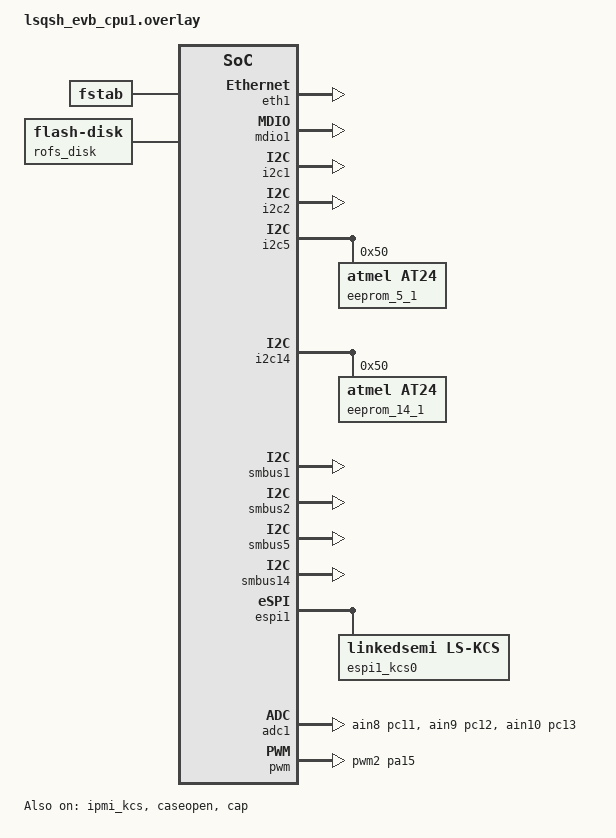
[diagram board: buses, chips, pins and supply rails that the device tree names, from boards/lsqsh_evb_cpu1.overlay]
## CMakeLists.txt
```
# SPDX-License-Identifier: Apache-2.0
cmake_minimum_required(VERSION 3.20.0)

# --- Self-test: fake temperature sensor (hwmon_i2c -> HwmonTempSensor) ---
# Enable both the fake sensor driver (CONFIG_FAKE_TEMP_SENSOR) and its DT
# overlay with a single flag:
#   west build -b <board> app -DFAKE_TEMP_TEST=y
# Leave off for production builds. MUST be set before find_package(Zephyr)
# because the overlay is consumed during devicetree generation (Kconfig runs
# first inside find_package, so the CONFIG cache var is picked up too).
#if(FAKE_TEMP_TEST)
  set(CONFIG_FAKE_TEMP_SENSOR y CACHE BOOL "fake temp sensor" FORCE)
  set(EXTRA_DTC_OVERLAY_FILE
      "${CMAKE_CURRENT_LIST_DIR}/boards/lsqsh_evb_cpu1_fake_temp.overlay"
      CACHE FILEPATH "fake temp test overlay" FORCE)
#endif()

# --- Self-test: fake PSU sensor (hwmon_i2c -> PSUSensor) ---
#   west build -b <board> app -DFAKE_PSU_TEST=y
# (Can be combined with -DFAKE_TEMP_TEST=y: the overlay is appended to the
# list so both apply. Set before find_package(Zephyr), same reason as above.)
#if(FAKE_PSU_TEST)
  set(CONFIG_FAKE_PSU_SENSOR y CACHE BOOL "fake psu sensor" FORCE)
  list(APPEND EXTRA_DTC_OVERLAY_FILE
       "${CMAKE_CURRENT_LIST_DIR}/boards/lsqsh_evb_cpu1_fake_psu.overlay")
#endif()

# --- Self-test: fake PECI CPU temperature/power sensor (hwmon_i2c -> IntelCPUSensor) ---
#   west build -b <board> app -DFAKE_PECI_CPUTEMP_TEST=y
# (Can be combined with -DFAKE_TEMP_TEST=y / -DFAKE_PSU_TEST=y.)
#if(FAKE_PECI_CPUTEMP_TEST)
  set(CONFIG_FAKE_PECI_CPUTEMP y CACHE BOOL "fake peci cpu sensor" FORCE)
  list(APPEND EXTRA_DTC_OVERLAY_FILE
       "${CMAKE_CURRENT_LIST_DIR}/boards/lsqsh_evb_cpu1_fake_peci_cputemp.overlay")
#endif()

# --- Real Intel PECI CPU sensor (hwmon_i2c -> IntelCPUSensor) ---
# Build-switch (the -D...=y kind) is reserved for fake self-test sensors
# only. The real driver is enabled exclusively from prj.conf so the build
# command stays the same once the hardware is wired up -- no need to
# remember to pass a flag. To turn it on, add to prj.conf:
#
#   CONFIG_SENSOR_INTEL_PECI=y
#   CONFIG_PECI=y
#   CONFIG_PECI_LS=y         # linkedsemi PECI controller driver
#
# The matching DT overlay is applied automatically below (post
# find_package(Zephyr), where the Kconfig cache var is visible to CMake).
# Mutually exclusive with -DFAKE_PECI_CPUTEMP_TEST=y because both define
# a hwmon node with the same "peci_cputemp" label.

find_package(Zephyr REQUIRED HINTS $ENV{ZEPHYR_BASE})

# Real Intel PECI: apply the matching DT overlay whenever the user has
# enabled CONFIG_SENSOR_INTEL_PECI in prj.conf. Doing it here (after
# find_package) means the Kconfig cache var is resolved and visible.
if(CONFIG_SENSOR_INTEL_PECI)
  if(FAKE_PECI_CPUTEMP_TEST)
    message(FATAL_ERROR
      "CONFIG_SENSOR_INTEL_PECI (prj.conf) and FAKE_PECI_CPUTEMP_TEST "
      "(-D...=y) are mutually exclusive: both define a hwmon node with "
      "the same \"peci_cputemp\" label. Pick one.")
  endif()
  list(APPEND EXTRA_DTC_OVERLAY_FILE
       "${CMAKE_CURRENT_LIST_DIR}/boards/lsqsh_evb_cpu1_intel_peci.overlay")
endif()

# ---------------------------------------------------------------------------
# wolfSSH/wolfSSL misc.c de-duplication -- done HERE so the wolfssh/wolfssl
# module CMakeLists stay untouched (both are pristine).
#
# app/wolfssl_user_settings.h defines NO_INLINE (required: this wolfssl fork
# stripped the !NO_INLINE inline branch from wolfcrypt/misc.h, so wolfSSH
# would fail with implicit declarations for ForceZero/ato32/c32toa/...).
# With NO_INLINE the misc.c copies export real external symbols, and exactly
# ONE of them must be linked:
#   - wolfssl's wolfcrypt/src/misc.c is the SUPERSET (also covers what
#     wolfssl's TLS internal.c needs) -- this is the one we want, but the
#     pristine wolfssl module has it COMMENTED OUT (line ~98);
#   - wolfssh's bundled src/misc.c (a subset) IS built pristine, because the
#     wolfssh module does target_sources(app PRIVATE src/*.c).
# So from the app side:
#   a) drop wolfssh's bundled copy from the 'app' target (the module
#      compiles its sources into 'app', included during find_package above);
#   b) append wolfssl's wolfcrypt/src/misc.c to the wolfssl library target
#      (found via the ZEPHYR_LIBS global property; its name is the
#      path-derived "..__modules__lib__wolfssl__zephyr").
#.regex notes: (a) matches only <module>/wolfssh/src/misc.c -- NOT the
# app's own src/misc.c below. (b) is a no-op when the wolfssl module is
# ever re-enabled upstream, as long as the target name matches "wolfssl".
get_target_property(APP_SRCS app SOURCES)
if(NOT APP_SRCS STREQUAL "APP_SRCS-NOTFOUND")
  list(FILTER APP_SRCS EXCLUDE REGEX "/wolfssh/src/misc\\.c$")
  set_target_properties(app PROPERTIES SOURCES "${APP_SRCS}")
endif()

set(WOLFSSL_MISC_TARGET "")
get_property(ZEPHYR_ALL_LIBS GLOBAL PROPERTY ZEPHYR_LIBS)
foreach(lib ${ZEPHYR_ALL_LIBS})
  if(lib MATCHES "wolfssl" AND NOT WOLFSSL_MISC_TARGET)
    set(WOLFSSL_MISC_TARGET ${lib})
  endif()
endforeach()
if(WOLFSSL_MISC_TARGET)
  target_sources(${WOLFSSL_MISC_TARGET} PRIVATE
    ${ZEPHYR_WOLFSSL_MODULE_DIR}/wolfcrypt/src/misc.c)
else()
  message(FATAL_ERROR
    "wolfssl library target not found in ZEPHYR_LIBS; cannot enable "
    "wolfcrypt/src/misc.c from the app. If the wolfssl module structure "
    "changed, update this block.")
endif()

project(openbmc LANGUAGES C CXX)

target_include_directories(app PRIVATE include)

target_sources(app PRIVATE
  src/main.cpp
  src/thread_dependency_mgr.cpp
  src/task_def.cpp
)

target_sources(app PRIVATE
  src/sys_mmap_impl.c
#   src/test_deployment.c
  src/test_sd_event.c
  # ${CMAKE_CURRENT_LIST_DIR}/../../samples/test_event/sd_event_test.c
  src/misc.c
  src/net_stack_cfg.c
  src/dbroker.c
  src/socketpool.c
#   src/config_fs.c
  src/busctl_shell.c
  # i2c-tools debug shell commands (i2cdetect/i2cget/i2cset/i2cdump/i2ctransfer).
  # Default-on, no Kconfig guard -- mirrors busctl_shell.c / ipmitool_shell.c.
  src/i2c_tools_shell.c
)

# Self-test fake temperature sensor (hwmon_i2c -> HwmonTempSensor path).
#if (CONFIG_FAKE_TEMP_SENSOR)
  target_sources(app PRIVATE src/fake_temp.c)
#endif()

# Self-test fake PSU sensor (hwmon_i2c -> PSUSensor path).
#if (CONFIG_FAKE_PSU_SENSOR)
  target_sources(app PRIVATE src/fake_psu.c)
#endif()

# Self-test fake PECI CPU temperature sensor (hwmon_i2c -> IntelCPUSensor path).
#if (CONFIG_FAKE_PECI_CPUTEMP)
  target_sources(app PRIVATE src/fake_peci_cputemp.c)
#endif()

# Real Intel PECI CPU sensor (hwmon_i2c -> IntelCPUSensor path).
# Requires the PECI controller driver to be enabled (CONFIG_PECI=y +
# CONFIG_PECI_LS=y on linkedsemi platforms) and the board's &peci1/&peci2
# nodes status="okay" -- the bundled overlay does that automatically.
if (CONFIG_SENSOR_INTEL_PECI)
  target_sources(app PRIVATE src/intel_peci.c)
endif()

# Handle Unix socket compatibility
target_compile_definitions(app PRIVATE
-D__ZEPHYR__
-D_POSIX_SOCKETS
-D_AF_UNIX_EXISTS_=1
)

zephyr_compile_options(-msmall-data-limit=0 -Wno-strict-prototypes -Wno-macro-redefinition -Wno-implicit-fallthrough)
target_link_options(app PRIVATE -Wl,--no-relax)
# Route every abort() call through our __wrap_abort() so a silent
# c_assert/abort() inside dbus-broker (which would otherwise kill the
# broker thread with no log) is captured via printk.
target_link_options(app PRIVATE -Wl,--wrap=abort)

if (CONFIG_ZEPHYRBMC_FILESYSTEM)
zephyr_library_link_libraries(filesystem)
endif()

# ---------------------------------------------------------------------------
# webui-vue static assets -> rofs (littlefs image, mounted under the web root)
#
# webui-vue is a browser SPA (Vue 2); only its prebuilt `dist/` is bundled.
# The dist is produced on a host with Node 16:
#     cd openbmc/webui-vue && npm install && npm run build
# (CompressionPlugin must stay ENABLED so dist ships as .gz files; the 2MB
#  rofs cannot hold the ~2MB uncompressed build.)
#
# Copied at CMake *configure* time into the rofs staging dir; mk-rofs later
# packs ${CMAKE_BINARY_DIR}/configure_file/ into flash_rofs.bin.
#
#   rofs path : usr/share/www/
#   web root  : CONFIG_FS_ROOT_OVERLAY "/usr/share/www/"
#
# bmcweb must serve the .gz files with Content-Encoding: gzip and MIME from
# the stripped (.gz) suffix (standard gzip_static behaviour).
# ---------------------------------------------------------------------------
if(CONFIG_OPENBMC_WEBUI_VUE)
  set(WEBUI_DIST_DIR "${CMAKE_CURRENT_SOURCE_DIR}/../../webui-vue/dist"
      CACHE PATH "Path to the prebuilt webui-vue dist/ directory")
  if(NOT EXISTS "${WEBUI_DIST_DIR}")
    message(FATAL_ERROR
      "CONFIG_OPENBMC_WEBUI_VUE is set but '${WEBUI_DIST_DIR}' does not "
      "exist.\n"
      "Build the webui-vue frontend first on a host with Node 16:\n"
      "  cd openbmc/webui-vue && npm install && npm run build\n"
      "(Keep CompressionPlugin enabled so the dist is gzipped.)")
  endif()
  set(WEBUI_RDFS_DIR "${CMAKE_BINARY_DIR}/configure_file/usr/share/www")
  file(MAKE_DIRECTORY ${WEBUI_RDFS_DIR})
  # Copy the *contents* of dist/ into usr/share/www/ (the /. idiom copies
  # directory contents, not the dist/ folder itself).
  file(COPY "${WEBUI_DIST_DIR}/." DESTINATION ${WEBUI_RDFS_DIR})
  # Re-run CMake if any dist file changes, so the copy stays in sync.
  file(GLOB WEBUI_DIST_FILES "${WEBUI_DIST_DIR}/*")
  set_property(DIRECTORY APPEND PROPERTY CMAKE_CONFIGURE_DEPENDS ${WEBUI_DIST_FILES})
endif()

zephyr_library_link_libraries(
	dbus-broker
	basu
  phosphor-objmgr
  i2c-tools
)

# zephyr_library_link_libraries(sd-bus)
zephyr_library_link_libraries(zephyr-osal)
zephyr_library_link_libraries(boost)
# zephyr_library_link_libraries(zephyr-test)
# zephyr_library_link_libraries(phosphor-user-manager)

zephyr_compile_definitions(
    _GNU_SOURCE
    # SDBUSPLUS_DISABLE_BOOST_COROUTINES
    _GLIBCXX_USE_C99_MATH_FUNCS
    _GLIBCXX_HAVE_ALIGNED_ALLOC
    _GLIBCXX_HAVE_STRTOLD
    _GLIBCXX_HAVE_DIRENT_H
    _GTHREAD_USE_MUTEX_INIT_FUNC
    _GTHREAD_USE_RECURSIVE_MUTEX_INIT_FUNC
    _GTHREAD_USE_COND_INIT_FUNC
    _GLIBCXX_HAVE_TIMESPEC_GET
)
```

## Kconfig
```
menuconfig DBROKER
	bool "D-Bus Broker support"
	default n
	help
		Enable D-Bus broker support for inter-process communication.

if DBROKER

choice
	prompt "D-Bus broker connection type"
	default DBUS_BROKER_INET

config DBUS_BROKER_INET
	bool "Use INET sockets"
	help
		Use AF_INET sockets for client connections.
		This requires network stack and uses more resources.

config DBUS_BROKER_SOCKETPOOL
	bool "Use socketpool"
	select NET_SOCKETPAIR
	help
		Use a pool of pre-allocated socketpairs for client connections.
		This is more efficient than INET sockets and uses less resources.

endchoice

config DBUS_BROKER_PORT
	int "D-Bus broker listening port"
	depends on DBUS_BROKER_INET
	default 55555
	help
		Port number for D-Bus broker listener.

config DBUS_BROKER_SOCKETPOOL_SIZE
	int "Number of socketpairs in pool"
	depends on DBUS_BROKER_SOCKETPOOL
	default 16
	help
		Number of pre-allocated socketpairs in the pool.
		Each socketpair uses 2 file descriptors.

config DBUS_BROKER_SOCKETPOOL_BUFFER_SIZE
	int "Socketpair buffer size in bytes"
	depends on DBUS_BROKER_SOCKETPOOL
	default 4096
	help
		Buffer size for each socketpair in the pool.
		This is the size of the socket send/receive buffer for each
		end of the socketpair. A larger buffer allows larger messages
		to be sent without blocking, but uses more memory.

		Total memory usage = SOCKETPOOL_SIZE * 2 * SOCKETPOOL_BUFFER_SIZE

		Examples:
		- 16 pairs * 2 * 4KB = 128KB
		- 16 pairs * 2 * 8KB = 256KB
		- 16 pairs * 2 * 16KB = 512KB

		For most D-Bus use cases, 4KB-8KB is sufficient.

config DBUS_BROKER_STACK_SIZE
	int "D-Bus broker thread stack size"
	default 8192
	help
		Stack size for D-Bus broker thread.

config DBUS_BROKER_PRIORITY
	int "D-Bus broker thread priority"
	default 7
	help
		Priority for D-Bus broker thread.

endif # DBROKER

config APP_STACK_SECTION
    string
    prompt "APP_STACK_SECTION"
    default "PSRAM"
    # default ".noinit"

config OPENBMC_ZEPHYR
	bool "OpenBMC project build (global control)"
	default y
	help
	  Global flag to indicate this is OpenBMC build.

config FS_ROOT_RO
    string
    prompt "Root filesystem read-only path"
    default "/ro"

config FS_ROOT_RW
    string
    prompt "Root filesystem read-write path"
    default "/rw"

config FS_ROOT_OVERLAY
    string
    prompt "Root filesystem overlay path"
    default "/overlay"

config FS_ROOT_MNT
    string
    prompt "Root filesystem data volume (eMMC) mount path"
    default "/mnt"
    help
      Mount point of the writable data FAT volume (eMMC, disk-name "mnt").
      FatFs is built with FF_STR_VOLUME_ID=2 (CONFIG_ZEPHYR_FATFS_UNIX_MNTPOINT=y),
      so the volume is addressed unix-style ("/mnt/...", no colon) and the
      mount point must equal the volume name: keep it in sync with
      CONFIG_ZEPHYR_FATFS_SD2_ALIAS_UNIX ("mnt") and the disk-name of the mmc
      disk node in the board overlay.
      All code that stores paths on this volume should build them from this
      symbol.

config FAKE_TEMP_SENSOR
	bool "Fake temperature sensor for hwmon self-test"
	default n
	help
	  A simulated sensor device that returns a slowly-varying temperature
	  (around 25 C) via the Zephyr sensor API. Use it to exercise the
	  hwmon_i2c -> sysfs tempX_input -> HwmonTempSensor dbus path without
	  real sensor hardware. Enable only for testing; keep off in production.

config FAKE_PSU_SENSOR
	bool "Fake PSU sensor for hwmon self-test"
	default n
	help
	  A simulated PMBus-style sensor returning slowly-varying voltage/power
	  rail values (vin/vout/pin/pout) via the Zephyr sensor API. Use it to
	  exercise the hwmon_i2c -> sysfs <rail>_input -> PSUSensor dbus path
	  without real PMBus hardware. Enable only for testing; keep off in
	  production.

config FAKE_PECI_CPUTEMP
	bool "Fake PECI CPU temperature/power sensor for hwmon self-test"
	default n
	help
	  A simulated Intel PECI CPU sensor returning slowly-varying temperature
	  (DTS, Margin, DIMM) and power (cpu power, dimm power) values via the
	  Zephyr sensor API. Use it to exercise the hwmon_i2c -> sysfs
	  *_input -> IntelCPUSensor dbus path without a real Intel CPU connected.
	  Enable only for testing; keep off in production.

config SENSOR_INTEL_PECI
	bool "Real Intel PECI CPU temperature/power/DIMM sensor"
	depends on PECI
	default n
	help
	  The real counterpart of FAKE_PECI_CPUTEMP. Reads DTS / Margin / Package
	  power / DRAM power / DIMM A1 / DIMM B1 from an Intel CPU over PECI
	  and exposes them via the Zephyr sensor API so hwmon_i2c + IntelCPUSensor
	  work without any code changes.

	  All six rails, including DIMM A1 / DIMM B1, are sourced from PECI:
	  the CPU's integrated memory controller (IMC) monitors the DIMM
	  thermistors itself and reports per-channel DIMM temperatures through
	  the PECI memory-thermal domain (RdPkgCfg with a memory-domain index,
	  or RdIAMSR for some platforms). The DIMM slot SMBus is reserved for
	  SPD / PMBus access and is NOT the temperature source.

	  Enable directly in prj.conf (NOT through a -D...=y build flag -- the
	  build flag is reserved for fake self-test sensors). When set, the
	  matching DT overlay (lsqsh_evb_cpu1_intel_peci.overlay) is applied
	  automatically and the SoC's &peci1/&peci2 nodes are enabled.

	  Typical prj.conf snippet for production:

	      CONFIG_PECI=y
	      CONFIG_PECI_LS=y
	      CONFIG_SENSOR_INTEL_PECI=y

	  Mutually exclusive with FAKE_PECI_CPUTEMP.

config OPENBMC_WEBUI_VUE
	bool "Bundle webui-vue static assets into rofs"
	default n
	depends on MK_ROFS
	help
	  Copy the prebuilt webui-vue dist/ (openbmc/webui-vue/dist, produced
	  by `npm run build` on a Node 16 host) into the littlefs rofs image at
	  usr/share/www/. bmcweb serves these files as the BMC web UI.

	  The dist ships gzipped (index.html.gz, app.*.js.gz, ...) because the
	  2MB rofs cannot hold the ~2MB uncompressed build. bmcweb must serve
	  them with Content-Encoding: gzip and MIME derived from the stripped
	  (.gz) suffix (standard gzip_static behaviour).

# SHELL_WOLFSSH_LOG_LEVEL is generated by Kconfig.template.log_config
# (Kconfig.backends: "module = SHELL_WOLFSSH") with "depends on LOG". This
# app builds without CONFIG_LOG, so the symbol never reaches autoconf.h and
# shell_wolfssh.c silently falls back to "no log backend".
#
# Re-defining it here fixes that WITHOUT touching the zephyr tree, but ONLY
# while CONFIG_LOG is off. kconfiglib ORs the dependencies of multiple
# definitions of a symbol, so "depends on !LOG" here combines with the
# template's "depends on LOG" into a tautology -- the symbol is always
# generated. That is fine: "depends on" also applies to this definition's
# own default, so with LOG=y our default is skipped and the template's
# choice-driven semantics apply unchanged; with LOG=n our default wins and
# the value tracks SHELL_WOLFSSH_INIT_LOG_LEVEL (hand-written in
# Kconfig.backends without a LOG dependency).
#
# NOTE: activating that code path in shell_wolfssh.c also references
# CONFIG_LOG_MAX_LEVEL, which is likewise hidden without CONFIG_LOG
# (Kconfig.filtering is sourced inside "if LOG"). Re-expose it too, or the
# build breaks with LOG=n. With LOG=y our default is skipped and upstream's
# own default (also 4) applies.
config SHELL_WOLFSSH_LOG_LEVEL
	int
	depends on !LOG
	default SHELL_WOLFSSH_INIT_LOG_LEVEL

config LOG_MAX_LEVEL
	int
	depends on !LOG
	default 4

config CODEMGT_AUTO_ACTIVATE
	bool "Automatically activate a freshly uploaded BMC image"
	default n
	help
		When enabled, every BMC image that is uploaded and unpacked
		successfully is activated immediately: code-mgt writes it to the
		opposite flash slot, switches the boot environment (dual_sec_active_image
		/ app_*_partition_offset in the SBL env) and reboots the BMC. It is
		the same path as setting Software.Activation.RequestedActivation to
		Active by hand, just without the busctl step.

		When disabled (the default), an uploaded image is only unpacked and
		published, and the activation stays under user control:
		  busctl set-property xyz.openbmc_project.Software.BMC.Updater \
		    /xyz/openbmc_project/software/<id> \
		    xyz.openbmc_project.Software.Activation RequestedActivation s \
		    xyz.openbmc_project.Software.Activation.RequestedActivations.Active

		Keep this OFF while a failed activation (a bad image, a flash write
		that does not complete) would otherwise put the board into a reboot
		loop on every upload.

source "Kconfig.zephyr"
```

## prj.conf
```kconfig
######################################################
# COMMON CONFIGURATION
######################################################
CONFIG_NEWLIB_LIBC=y
CONFIG_FILE_SYSTEM=y
CONFIG_POSIX_API=y
CONFIG_EVENTFD=y
CONFIG_LOG=n
# CONFIG_LOG_MODE_MINIMAL=y
# CONFIG_STACK_CANARIES=y
CONFIG_STATIC_INIT_GNU=y
CONFIG_TEST_RANDOM_GENERATOR=y
CONFIG_NETWORKING=y
CONFIG_NET_TCP=y
CONFIG_NET_SOCKETS=y
CONFIG_NET_SOCKETS_POLL_MAX=64
CONFIG_MAX_PTHREAD_MUTEX_COUNT=4096


CONFIG_NET_ZPERF=y
# CONFIG_NET_LOG is not set
CONFIG_NET_UDP=y
# NET_IPV6=n 时该选项无依赖，置 n 避免 Kconfig 警告
CONFIG_NET_TCP_IPV6_ND_REACHABILITY_HINT=n
CONFIG_NET_STATISTICS=y
CONFIG_NET_STATISTICS_USER_API=y
CONFIG_NET_STATISTICS_IPV4=y
CONFIG_NET_STATISTICS_UDP=y
CONFIG_NET_STATISTICS_TCP=y
CONFIG_NET_STATISTICS_ETHERNET=y
CONFIG_NET_TC_TX_COUNT=1
CONFIG_NET_SOCKETS_SERVICE_THREAD_PRIO=-1
CONFIG_INIT_STACKS=y
CONFIG_NET_L2_ETHERNET=y

# Shell enabled with serial backend
CONFIG_SHELL=y
CONFIG_KERNEL_SHELL=y
CONFIG_SHELL_BACKEND_SERIAL=y
# Enlarge UART RX ring buffer (default 64) so a full pasted command line is
# buffered even if the shell thread is briefly starved; prevents random
# character drops ("Too few arguments" / corrupted args) on long commands.
CONFIG_SHELL_BACKEND_SERIAL_RX_RING_BUFFER_SIZE=256
# Enlarge the per-command parse buffer (default 256) so long busctl calls
# (service + path + signature + args) are not truncated.
CONFIG_SHELL_CMD_BUFF_SIZE=512
CONFIG_SHELL_THREAD_PRIORITY_OVERRIDE=y
CONFIG_NET_SHELL=y
# CONFIG_SPEED_OPTIMIZATIONS=y
CONFIG_SIZE_OPTIMIZATIONS=y
# CONFIG_LTO=y
CONFIG_SHELL_STACK_SIZE=16384

######################################################
# 网络配置（参考 zephyr_openbmc - 仅 IPv4）
######################################################
CONFIG_NET_IPV4=y
CONFIG_NET_IPV6=n


CONFIG_NET_CONFIG_SETTINGS=y
CONFIG_NET_CONFIG_AUTO_INIT=n
CONFIG_NET_CONFIG_INIT_TIMEOUT=120

CONFIG_NET_DHCPV4=y
CONFIG_NET_CONFIG_MY_IPV4_ADDR="192.0.2.13"
CONFIG_NET_CONFIG_MY_IPV4_NETMASK="255.255.255.0"
CONFIG_NET_CONFIG_MY_IPV4_GW=""


CONFIG_NET_IF_UNICAST_IPV4_ADDR_COUNT=2

# ARP 协议
CONFIG_NET_ARP=y
CONFIG_NET_ARP_GRATUITOUS=y
CONFIG_NET_ARP_GRATUITOUS_TRANSMISSION=y
CONFIG_NET_MGMT_EVENT_INFO=y

CONFIG_NET_IPV4_ACD=y



# CONFIG_NET_CORE_LOG_LEVEL_DBG=y
# CONFIG_NET_ARP_LOG_LEVEL_DBG=y
# CONFIG_NET_L2_ETHERNET_LOG_LEVEL_DBG=y
# CONFIG_NET_ICMPV4_LOG_LEVEL_DBG=y
# CONFIG_NET_IF_LOG_LEVEL_DBG=y
# CONFIG_NET_CONFIG_LOG_LEVEL_DBG=y


CONFIG_NET_TCP_WORKER_PRIO=10

# 网络管理
CONFIG_NET_MGMT=y
CONFIG_NET_MGMT_EVENT=y
CONFIG_NET_L2_ETHERNET_MGMT=y


CONFIG_NET_BUF_DATA_SIZE=1024
CONFIG_RX_REFILL_STACK_SIZE=4096
CONFIG_STACK_SENTINEL=y
CONFIG_NET_PKT_RX_COUNT=256
CONFIG_NET_PKT_TX_COUNT=64
CONFIG_NET_BUF_RX_COUNT=64
CONFIG_NET_BUF_TX_COUNT=16
CONFIG_NET_MAX_CONTEXTS=32
CONFIG_NET_MAX_CONN=32
CONFIG_NET_TCP_WORKQ_STACK_SIZE=2048
CONFIG_DWMAC_NB_RX_DESCS=128
CONFIG_DWMAC_NB_TX_DESCS=24

# 网络栈大小配置（tx workq 在 wolfSSH 握手流量下曾触顶 2048）
CONFIG_NET_TX_STACK_SIZE=4096
CONFIG_NET_RX_STACK_SIZE=4096
CONFIG_NET_MGMT_EVENT_STACK_SIZE=3072

CONFIG_NET_LOOPBACK=y


CONFIG_NET_IF_UNICAST_IPV4_ADDR_COUNT=2
CONFIG_NET_IF_MCAST_IPV4_ADDR_COUNT=1

CONFIG_NET_CONTEXT_RECV_PKTINFO=y

CONFIG_THREAD_NAME=y

CONFIG_TEST_AUTH=y

CONFIG_PSRAM=y
CONFIG_NEWLIB_LIBC_MALLOC_SECTION_NAME="PSRAM"
CONFIG_NEWLIB_LIBC_MALLOC_LSQSH=y

CONFIG_SYS_HEAP_RUNTIME_STATS=y

CONFIG_NEWLIB_LIBC_MALLOC_ARENA_SIZE=5242880

CONFIG_MAIN_STACK_SIZE=92160
CONFIG_HEAP_MEM_POOL_SIZE=40960
CONFIG_POSIX_MAX_FDS=512
CONFIG_ZVFS_POLL_MAX=512
# CONFIG_ZVFS_OPEN_MAX=112
CONFIG_NET_SOCKETPAIR=y
CONFIG_NET_SOCKETPAIR_BUFFER_SIZE=1024
CONFIG_NET_SOCKETS_AF_UNIX=y
CONFIG_NET_UNIX_BUFFER_SIZE=2048
CONFIG_NET_UNIX_MAX_SOCKETS=64
######################################################
# DBUS SOCKET MODE SELECTION
######################################################
# Enable D-Bus broker subsystem
CONFIG_DBROKER=y

CONFIG_ASSERT=y

CONFIG_XIP=y
CONFIG_BOOT_CPU2=n
# CONFIG_THREAD_LOCAL_STORAGE=y
# CONFIG_LOG_DEFAULT_LEVEL=3
CONFIG_FRAME_POINTER=y
CONFIG_THREAD_LOCAL_STORAGE=y
CONFIG_TOOLCHAIN_CROSS_COMPILE_SUPPORTS_THREAD_LOCAL_STORAGE=y
CONFIG_POSIX_THREADS=y

CONFIG_ZVFS_OPEN_MAX=512
CONFIG_ZVFS_EVENTFD_MAX=512

CONFIG_CPP=y
CONFIG_STD_CPP20=y
CONFIG_REQUIRES_FULL_LIBCPP=y
CONFIG_CPP_EXCEPTIONS=y
CONFIG_TOOLCHAIN_CROSS_COMPILE_SUPPORTS_GNU_EXTENSIONS=y

#
# File Systems
#
CONFIG_FILE_SYSTEM=y
# format SD card
CONFIG_FILE_SYSTEM_MKFS=y
CONFIG_FILE_SYSTEM_SHELL=y
CONFIG_FILE_SYSTEM_MAX_TYPES=16
CONFIG_FILE_SYSTEM_MAX_FILE_NAME=255
CONFIG_FILE_SYSTEM_LITTLEFS=y
CONFIG_FS_LITTLEFS_BLK_DEV=y
CONFIG_DISK_ACCESS=y
CONFIG_DISK_DRIVERS=y
CONFIG_DISK_DRIVER_MMC=y
CONFIG_DISK_DRIVER_FLASH=y
CONFIG_FLASH=y
CONFIG_FLASH_SHELL=y
CONFIG_FLASH_MAP=y
CONFIG_FLASH_PAGE_LAYOUT=y
CONFIG_MPU_ALLOW_FLASH_WRITE=y

# CONFIG_STORAGE_MEDIA_FLASH_RW=y
# CONFIG_STORAGE_MEDIA_EMMC=y
# end of File Systems

# Enable fatfs reentry
# FatFs volume IDs use the unix style (FF_STR_VOLUME_ID=2), so mount points
# are "/ro" and "/mnt". This is global: every FatFs mount point and path must
# use "/<volume>/..." (no colon).
CONFIG_ZEPHYR_FATFS_UNIX_MNTPOINT=y
# Rename slot 2 of the volume table ("NAND") to "ro"; it must match the
# disk-name of rofs_disk in the board overlay.
CONFIG_ZEPHYR_FATFS_NAND_ALIAS_UNIX="ro"
# The writable data volume (eMMC) is mounted at CONFIG_FS_ROOT_MNT ("/mnt"),
# so its volume string must be "mnt" as well.
CONFIG_ZEPHYR_FATFS_SD2_ALIAS_UNIX="mnt"
CONFIG_FAT_FILESYSTEM_ELM=y
CONFIG_FS_FATFS_LFN=y
# allow reentrance
CONFIG_FS_FATFS_LFN_MODE_STACK=y
CONFIG_FS_FATFS_NUM_FILES=16
CONFIG_FS_FATFS_NUM_DIRS=16
CONFIG_FS_FATFS_TINY=n
CONFIG_FS_FATFS_REENTRANT=y
# end fatfs

# LittleFS Settings
#
CONFIG_FS_LITTLEFS_NUM_FILES=16
CONFIG_FS_LITTLEFS_NUM_DIRS=16
# CONFIG_FS_LITTLEFS_READ_SIZE=512
# CONFIG_FS_LITTLEFS_PROG_SIZE=512
# CONFIG_FS_LITTLEFS_CACHE_SIZE=512
# CONFIG_FS_LITTLEFS_LOOKAHEAD_SIZE=2048
# CONFIG_FS_LITTLEFS_BLOCK_CYCLES=512
CONFIG_FS_LITTLEFS_FC_HEAP_SIZE=20480
# end of LittleFS Settings

CONFIG_THREAD_STACK_INFO=y
CONFIG_DYNAMIC_THREAD=y
CONFIG_DYNAMIC_THREAD_ALLOC=y
CONFIG_DYNAMIC_THREAD_POOL_SIZE=1
CONFIG_DYNAMIC_THREAD_STACK_SIZE=10240

CONFIG_I2C_SHELL=y
CONFIG_SMBUS_SHELL=y
CONFIG_EEPROM=y
CONFIG_EEPROM_EMULATOR=n
CONFIG_EEPROM_SIMULATOR=n
CONFIG_EEPROM_SHELL=y
CONFIG_EEPROM_AT24=y

CONFIG_POSIX_THREAD_THREADS_MAX=40
CONFIG_POSIX_TIMERS=y
CONFIG_XOPEN_STREAMS=y
CONFIG_CPP_RTTI=y

# CONFIG_PWM=y
# CONFIG_PWM_LS=y

CONFIG_BASU=y
CONFIG_DBUS_BROKER=y
# CONFIG_NET_DEBUG=y
CONFIG_ZEPHYR_OSAL=y

CONFIG_NET_HOSTNAME="openbmc"
CONFIG_NET_HOSTNAME_DYNAMIC=y

CONFIG_OPENBMC_SDBUSPLUS=y

CONFIG_OPENBMC_PHOSPHOR_HOST_IPMID=y
CONFIG_OPENBMC_PHOSPHOR_NET_IPMID=y

CONFIG_OPENBMC_BOOST=y

CONFIG_OPENBMC_PHOSPHOR_LOGGING=y

CONFIG_OPENBMC_PHOSPHOR_OBJMGR=y
CONFIG_OPENBMC_PHOSPHOR_BMC_CODE_MGT=y
# enable SBL env
CONFIG_OPENBMC_FW_ENV=y

CONFIG_TINYXML2=y

CONFIG_WOLFSSL=y
CONFIG_WOLFSSL_SETTINGS_FILE="wolfssl_user_settings.h"

# wolfSSH settings live in the app as well (mirrors the line above). The
# upstream default points at ${ZEPHYR_BASE}/subsys/shell/backends/
# wolfssh_user_settings.h, which is left pristine/unused. The bare file name
# resolves through ${APPLICATION_CONFIG_DIR}, which the wolfSSL module puts on
# the global include path -- same mechanism as wolfssl_user_settings.h.
CONFIG_WOLFSSH_SETTINGS_FILE="wolfssh_user_settings.h"

CONFIG_OPENBMC_PHOSPHOR_DBUS_INTERFACES=y

CONFIG_OPENBMC_SDEVENTPLUS=y

CONFIG_OPENBMC_VALIJSON=y

CONFIG_OPENBMC_I2C_TOOLS=y

CONFIG_OPENBMC_ENTITY_MANAGER=y

CONFIG_DEVFS=y
CONFIG_ZEPHYR_DEVFS_DRIVER=y
CONFIG_DEVFS_FILE_NUM_MAX=32
CONFIG_SYSFS=y
CONFIG_SYSFS_FILE_NUM_MAX=32

CONFIG_MK_ROFS=y

# Bundle the prebuilt webui-vue frontend (openbmc/webui-vue/dist) into the
# littlefs rofs at usr/share/www/ (served by bmcweb as the BMC web UI).
CONFIG_OPENBMC_WEBUI_VUE=y

#SEL
CONFIG_OPENBMC_PHOSPHOR_SEL_LOGGER=y

CONFIG_OPENBMC_IPMITOOL=y

CONFIG_KCS=y
CONFIG_IPMI=y
CONFIG_IPMI_KCS_LS=y
CONFIG_ESPI=y
CONFIG_OPENBMC_KCSBRIDGE=y

CONFIG_OPENBMC_BMCWEB=y
CONFIG_CLI11=y

# dbus-sensors (only ADC for now)
# CONFIG_OPENBMC_LIBGPIOD=y
CONFIG_OPENBMC_DBUS_SENSORS=y
# CONFIG_OPENBMC_DBUS_SENSORS_ADC=y
# CONFIG_OPENBMC_DBUS_SENSORS_EXTERNAL=n
# CONFIG_OPENBMC_DBUS_SENSORS_FAN=n
# CONFIG_OPENBMC_DBUS_SENSORS_HWMON_TEMP=n
# CONFIG_OPENBMC_DBUS_SENSORS_INTELCPU=n
# CONFIG_OPENBMC_DBUS_SENSORS_INTRUSION=n
# CONFIG_OPENBMC_DBUS_SENSORS_PSU=n

# debug config
CONFIG_HW_STACK_PROTECTION=y
CONFIG_PMP_STACK_GUARD_MIN_SIZE=256

# CONFIG_DEBUG_THREAD_INFO=y
# CONFIG_THREAD_MONITOR=y
# CONFIG_ISR_STACK_SIZE=10240

CONFIG_SHELL_BACKEND_WOLFSSH=y
CONFIG_SHELL_WOLFSSH_LOGIN_TIMEOUT=5
# ssh_daemon_thread runs wolfSSH handshake (ECDH/AES crypto peaks) AND the
# whole Zephyr shell command execution afterwards; the 4096 default
# overflows (caught by STACK_SENTINEL: K_ERR_STACK_CHK_FAIL). Must be 32768
CONFIG_SHELL_WOLFSSH_DAEMON_STACK_SIZE=32768

# LOG_MODE_MINIMAL renders LOG_* output on the interrupted thread's stack;
# the tiny default idle stack overflows as soon as any driver logs from ISR
# context. Enlarged to accommodate that.
CONFIG_IDLE_STACK_SIZE=2048
CONFIG_NET_SOCKETS_SERVICE_STACK_SIZE=16384

# enlarge SD write buffer to 16 KiB to speed up SD file writes
CONFIG_SD_BUFFER_SIZE_OVERLAY=16384
# automatically reboot after uploading image
CONFIG_CODEMGT_AUTO_ACTIVATE=y

# User intent: hardware-accelerated AES. No OTBN AES option exists in the
# Kconfig tree (soc/linkedsemi/lsgsh/otbn/Kconfig.wolfssl); the linkedsemi
# hardware AES path is CONFIG_WOLFSSL_LINKEDSEMI_HARDWARE_AES_ALT (LSCRYPT
# peripheral, independent of OTBN).
#
# NOTE: the LSCRYPT alt path does NOT compile in this wolfssl revision --
# wolfcrypt/src/aes.c:12127 (inside the CONFIG_WOLFSSL_LINKEDSEMI_HARDWARE_AES_ALT
# branch) calls aes_config(..., byte_swap, ecb, keysize) with byte_swap/ecb
# never declared, i.e. an upstream bug in that branch. Leave it off until the
# alt implementation is fixed; the software AES + the GCM_TABLE_4BIT setting in
# wolfssl_user_settings.h is what the TLS throughput actually depends on.
#
# The OTBN alts are off for the same "not usable yet" reason: they register
# their own OTBN IRQ handler (wolfcrypt/src/port/linkedsemi/ecc.c
# wc_LS_OTBN_IRQHandler) while the SoC OTBN driver
# (soc/linkedsemi/lsqsh/otbn/otbn_common.c LS_OTBN_IRQHandler) is also built in,
# so the build dies in gen_isr_tables.py:
#   "multiple registrations at table_index 54 for irq 54 (0x36)"
# They become usable only once that driver and the wolfssl alt are made
# mutually exclusive by Kconfig. Nothing in the boot/flash path needs them
# (there is no signature/verification step).
#CONFIG_WOLFSSL_LINKEDSEMI_HARDWARE_AES_ALT=y
#CONFIG_WOLFSSL_LINKEDSEMI_OTBN_ECC_ALT=y
#CONFIG_WOLFSSL_LINKEDSEMI_OTBN_RSA_ALT=y
```

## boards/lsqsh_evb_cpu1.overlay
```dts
&chosen {
    zephyr,sram = &sram;
};

/*
 * SHMEM must be moved above the sram (data RAM) region to avoid overlap
 * with noinit/BSS sections. The original SHMEM at 0x100be000 collides
 * with growing noinit. Move it to 0x10140000 (right after sram ends).
 */
/delete-node/ &driver_share_memory;
/ {
    soc {
        driver_share_memory: memory@0x1013c000 {
            compatible = "zephyr,memory-region", "mmio-sram";
            reg = <0x1013c000 0x1000>;
            zephyr,memory-region = "SHMEM";
        };
    };
};

/* MBOX region must also move to avoid potential overlap */
/delete-node/ &mbox_memory;
/ {
    soc {
        mbox_memory: memory@0x1013d000 {
            compatible = "zephyr,memory-region", "mmio-sram";
            reg = <0x1013d000 DT_SIZE_K(4)>;
            zephyr,memory-region = "MBOX";
        };
    };
};

&eth1 {
    status = "okay";
};

&mdio1 {
    status = "okay";
};


&psram {
    status = "okay";
};

&i2c1 {
    status = "okay";
    label = "i2c-1";
};
&i2c2 {
    status = "okay";
    label = "i2c-2";
};
// &i2c3 {
//     status = "okay";
//     label = "i2c-3";
// };
// &i2c4 {
//     status = "okay";
//     label = "i2c-4";
// };

&i2c5 {
    status = "okay";
    label = "i2c-5";
    eeprom_5_1: eeprom@50 {
        status = "okay";
        compatible = "atmel,at24";
        reg = <0x50>;
        size = <4096>;
        pagesize = <32>;
        address-width = <16>;
        timeout = <5>;
        label = "eeprom_5_1";
    };
};
// &i2c6 {
//     status = "okay";
//     label = "i2c-6";
//     eeprom_6_1: eeprom@50 {
//         status = "okay";
//         compatible = "atmel,at24";
//         reg = <0x50>;
//         size = <4096>;
//         pagesize = <32>;
//         address-width = <16>;
//         timeout = <5>;
//         label = "eeprom_6_1";
//     };
// };
// &i2c7 {
//     status = "okay";
//     label = "i2c-7";
//     eeprom_7_1: eeprom@50 {
//         status = "okay";
//         compatible = "atmel,at24";
//         reg = <0x50>;
//         size = <4096>;
//         pagesize = <32>;
//         address-width = <16>;
//         timeout = <5>;
//         label = "eeprom_7_1";
//     };
// };
// &i2c8 {
//     status = "okay";
//     label = "i2c-8";
//     eeprom_8_1: eeprom@50 {
//         status = "okay";
//         compatible = "atmel,at24";
//         reg = <0x50>;
//         size = <4096>;
//         pagesize = <32>;
//         address-width = <16>;
//         timeout = <5>;
//         label = "eeprom_8_1";
//     };
// };
// &i2c9 {
//     status = "okay";
//     label = "i2c-9";
//     eeprom_9_1: eeprom@50 {
//         status = "okay";
//         compatible = "atmel,at24";
//         reg = <0x50>;
//         size = <4096>;
//         pagesize = <32>;
//         address-width = <16>;
//         timeout = <5>;
//         label = "eeprom_9_1";
//     };
// };
// &i2c10 {
//     status = "okay";
//     label = "i2c-10";
//     eeprom_10_1: eeprom@50 {
//         status = "okay";
//         compatible = "atmel,at24";
//         reg = <0x50>;
//         size = <4096>;
//         pagesize = <32>;
//         address-width = <16>;
//         timeout = <5>;
//         label = "eeprom_10_1";
//     };
// };
// &i2c11 {
//     status = "okay";
//     label = "i2c-11";
//     eeprom_11_1: eeprom@50 {
//         status = "okay";
//         compatible = "atmel,at24";
//         reg = <0x50>;
//         size = <4096>;
//         pagesize = <32>;
//         address-width = <16>;
//         timeout = <5>;
//         label = "eeprom_11_1";
//     };
// };
&i2c14 {
    status = "okay";
    label = "i2c-14";
    eeprom_14_1: eeprom@50 {
        status = "okay";
        compatible = "atmel,at24";
        reg = <0x50>;
        size = <4096>;
        pagesize = <32>;
        address-width = <16>;
        timeout = <5>;
        label = "eeprom_14_1";
    };
};

&smbus1 {
    status = "okay";
};

&smbus2 {
    status = "okay";
};

// &smbus3 {
//     status = "okay";
// };
//
// &smbus4 {
//     status = "okay";
// };

&smbus5 {
    status = "okay";
};

// &smbus6 {
//     status = "okay";
// };
//
// &smbus7 {
//     status = "okay";
// };
//
// &smbus8 {
//     status = "okay";
// };
//
// &smbus9 {
//     status = "okay";
// };
//
// &smbus10 {
//     status = "okay";
// };
//
// &smbus11 {
//     status = "okay";
// };

&smbus14 {
    status = "okay";
};

&espi1 {
    status = "okay";
    espi1_kcs0: espi1_kcs_ca2 {
        compatible = "linkedsemi,ls-kcs";
        kcs-env-addr = <0x40045d00>;
        port = <0xca2 0xca3>;
        status = "okay";
    };
};

// host_kcs_container: host_bmc_container_kcs@0 {
// 		compatible = "linkedsemi,host-bmc-container";
// 		reg = < 0x0 0x10 >;
// 		#address-cells = < 0x1 >;
// 		#size-cells = < 0x1 >;
// 		status = "okay";
// 		espi1_host_kcs_ca2: espi1_host_kcs_ca2@0 {
// 			compatible = "linkedsemi,ls-host-kcs";
// 			reg = < 0x0 0x10 >;
// 			port = < 0xca2 0xca3 >;
// 			kcs-env-addr = < 0x40045d00 >;
// 			espi_lpc = < &espi1 >;
// 			mbox = < &mbox_consumer_kcs1 >;
// 			status = "okay";
// 		};
// 	};

&ipmi_kcs {
    kcs_chan = <&espi1_kcs0>;
    status = "okay";
};

&caseopen {
    status = "okay";
};

&adc1 {
    #address-cells = <1>;
    #size-cells = <0>;
    pinctrl-0 = <&adc1_ain8_pc11 &adc1_ain9_pc12 &adc1_ain10_pc13>;
    pinctrl-names = "default";
    conversion_mode = <regular_mode>;
    data_align = <ADC_DATAALIGN_RIGHT>;
    continuous_conv_mode = <continuous>;
    nbr_of_conversion = <3>;
    discontinuous_conv_mode = <discontinuous>;
    nbr_of_disc_conversion = <0>;
    trig_type = <ADC_SOFTWARE_TRIGT>;
    adc_drive_type = <BINBUF_DIRECT_DRIVE_ADC>;
    adc_clk_div = <256>;
    clk_cfg = <ADC_CH_CLOCK_DIV8>;
    injected_offset = <0>;
    fif_ctrl1 = <0xFFFF>;
    #hwmon-in-cells = <1>;
    status = "okay";
};

/ {
    hwmon0 {
        compatible = "linkedsemi,hwmon";
        class = <0x2>;
        label = "hwmon0";
        hwmon-ins = <&adc1 0x8>, <&adc1 0x9>, <&adc1 0xa>;
        status = "okay";
    };

    /*
     * Generic model for class 5: set `sensor-type` and point `hwmon-ins`
     * directly at the underlying sensor device node (which implements the
     * Zephyr sensor API -- e.g. mps,mp5023 / ali,psu). No separate `sensor`
     * phandle is needed: the sensor node already provides #hwmon-in-cells
     * (via hwmon-controller.yaml), so `hwmon-ins = <&psu0 0>` carries the
     * sensor device handle. hwmon_i2c never touches bus registers; it only
     * calls sensor_sample_fetch()/sensor_channel_get(). The bus number and
     * address exposed in `bus_addr` are derived from the sensor node's parent
     * bus (`DT_BUS`) and `reg`, so no per-device code is needed in
     * hwmon_i2c.c.
     *
     * Example (PSU on i2c5 @ 0x60):
     *
     * &i2c5 {
     *     psu0: mp5023@60 {
     *         compatible = "mps,mp5023";
     *         reg = <0x60>;
     *         status = "okay";
     *     };
     * };
     *
     * hwmon_psu0 {
     *     compatible = "linkedsemi,hwmon";
     *     class = <0x5>;
     *     label = "hwmon_psu0";
     *     sensor-type = "psu";
     *     hwmon-ins = <&psu0 0>;
     *     meas = "in1_input:vin1", "in3_input:vout1",
     *            "curr1_input:iin1", "curr2_input:iout1",
     *            "power1_input:pin", "power2_input:pout1",
     *            "temp1_input", "fan1_input";
     *     status = "okay";
     * };
     *
     * `meas` lists the hwmon ABI files to expose. Each entry is
     * "<chan><n>_input" with an OPTIONAL ":<label>" suffix. hwmon_i2c parses
     * the filename at read time: prefix -> sensor_channel
     * (in/curr/power/temp/fan), number -> val2 rail selector (number - 1). So
     * in1=vin(val2=0), in3=vout(val2=2) for a PSU whose channel_get maps
     * voltage val2 0->vin, 2->vout.
     *
     * The ":<label>" suffix creates a companion "<chan><n>_label" file
     * (input->label) whose content is that text, e.g. in3_input:vout1 ->
     * in3_label = "vout1". This lets dbus-sensors tell vin/vout, iin/iout,
     * pin/pout apart (label heads vin1/vout1/iin1/iout1/pin/pout1). Drop the
     * ":<label>" (e.g. "temp1_input", "fan1_input") to skip the label file;
     * dbus-sensors then treats that rail with its generic "output" property.
     */

    hwmon_caseopen: hwmon_caseopen {
        compatible = "linkedsemi,hwmon";
        class = <0x5>;
        label = "hwmon_caseopen";
        sensor-type = "intrusion";
        hwmon-ins = <&caseopen 0>;
        meas = "intrusion1_input";
        status = "okay";
    };

    hwmon1 {
        compatible = "linkedsemi,hwmon";
        class = <0x0>;
        label = "hwmon1";
        hwmon-ins = <&cap 6>;//fan_tach2
        hwmon-outs = <&pwm 12>;//fan_pwm_a
        status = "okay";
    };

    hwmon2 {
        compatible = "linkedsemi,hwmon";
        class = <0x0>;
        label = "hwmon2";
        hwmon-ins = <&cap 0>;//fan_tach13
        hwmon-outs = <&pwm 11>;//fan_pwm_b
        status = "okay";
    };

    fstab {
        compatible = "zephyr,fstab";

        /*
         * rofs is now a FATFS image mounted at /ro. FatFs has no
         * fstab/automount support in this tree (only littlefs implements the
         * fstab driver), so main.cpp mounts it by hand; the rofs only needs a
         * block device, see rofs_disk below.
         */
        // ro_lfs_a: ro_lfs_a{
        //     compatible = "zephyr,fstab,littlefs";
        //     mount-point = "/ro";
        //     partition = <&a_rofs_partition>;
        //     no-format;
        //     read-only;
        //     read-size = <32>;
        //     prog-size = <32>;
        //     cache-size = <64>;
        //     lookahead-size = <256>;
        //     block-cycles = <512>;
        // };
        rw_lfs: rw_lfs{
            compatible = "zephyr,fstab,littlefs";
            mount-point = "/rw";
            partition = <&rwfs_partition>;
            // automount;
            // no-format;
            read-size = <32>;
            prog-size = <32>;
            cache-size = <64>;
            lookahead-size = <256>;
            block-cycles = <512>;
        };
    };
};

&cap {
    prescaler = <7>;
    #hwmon-in-cells = <1>;
    channels = <CAP_MODE1 CAP_DISABLED CAP_MODE1 CAP_MODE1 CAP_MODE1 CAP_DISABLED CAP_MODE1 CAP_DISABLED CAP_DISABLED CAP_DISABLED CAP_DISABLED CAP_DISABLED CAP_DISABLED CAP_DISABLED CAP_DISABLED CAP_DISABLED>;//cap_mode
    pinctrl-0 = < &cap1_rx_pa08 &cap7_rx_pg02>;
    // < &cap1_rx_pa08 &cap2_rx_pb01 &cap3_rx_pc02 &cap4_rx_pc03 &cap5_rx_pf04 &cap6_rx_pf05
    // &cap7_rx_pg02 &cap8_rx_pm07 &cap9_rx_pi00 &cap10_rx_pi01 &cap11_rx_pn14 &cap12_rx_pn15
    // &cap13_rx_pn02 &cap14_rx_pq00 &cap15_rx_pq01 &cap16_rx_pq02 >;
    pinctrl-names = "default";
    status = "okay";
};

&pwm{
    status = "okay";
    prescaler = <3>;
    #hwmon-out-cells = <1>;
    pinctrl-0 = <&fan_pwm2_pa15  &fan_pwm12_pn12 &fan_pwm13_pn13>;
    pinctrl-names = "default";
};

/* Block device for the read-only rofs (FATFS) image. disk-name must match the
 * FatFs volume string, i.e. CONFIG_ZEPHYR_FATFS_NAND_ALIAS_UNIX ("ro"), which
 * is mounted as "/ro". */
/ {
    rofs_disk: rofs_disk {
        compatible = "zephyr,flash-disk";
        partition = <&a_rofs_partition>;
        disk-name = "ro";
        cache-size = <4096>;    /* forced to 0 by the driver: partition is read-only */
    };
};

/* flashdisk computes CACHE_SIZE(n) = cache-size * !read_only, so this selects
 * the read-only path (no write cache, no erase constraints). */
&a_rofs_partition {
    read-only;
};

/* The writable data volume (eMMC) is mounted at CONFIG_FS_ROOT_MNT ("/mnt").
 * FatFs resolves a volume string by disk name, so the eMMC disk must be named
 * "mnt" as well -- keep it in sync with CONFIG_ZEPHYR_FATFS_SD2_ALIAS_UNIX. */
&mmc_disk1 {
    disk-name = "mnt";
};

&pinctrl {
    /omit-if-no-ref/fan_pwm12_pn12: fan_pwm12_pn12 {
        pinmux = <PWM12_FUNC1_IDX25_PINMUX_PN(12)>;
        output-enable;
    };
    /omit-if-no-ref/fan_pwm13_pn13: fan_pwm13_pn13 {
        pinmux = <PWM13_FUNC1_IDX26_PINMUX_PN(13)>;
        output-enable;
    };
};
```

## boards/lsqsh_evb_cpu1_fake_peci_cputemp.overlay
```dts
/ {
    /* Fake PECI CPU temperature/power sensor for IntelCPUSensor self-test.
     * Returns slowly-varying fixed values through the Zephyr sensor API.
     * hwmon_i2c exposes temp/power *_input + *_label files so
     * IntelCPUSensorMain.cpp can scan them like a real PECI hwmon node.
     *
     * Apply on top of the board's default overlay, e.g.:
     *   west build -b <board> app -DFAKE_PECI_CPUTEMP_TEST=y
     *
     * (The FAKE_PECI_CPUTEMP_TEST CMake flag enables CONFIG_FAKE_PECI_CPUTEMP
     * and applies this overlay automatically; see app/CMakeLists.txt.)
     */
    fake_peci_cpu0: fake-peci-cputemp {
        compatible = "test,fake-peci-cputemp";
        #hwmon-in-cells = <1>;
        status = "okay";
    };

    hwmon_peci_cpu0: hwmon_peci_cpu0 {
        compatible = "linkedsemi,hwmon";
        class = <0x5>;
        /* DT label = device identifier, used as the hwmon directory
         * name AND as the value of the `label` sysfs file. NOT the
         * same as the `name` file (which the hwmon_i2c driver fills
         * from sensor-type -- "peci_cputemp" in this case, so that
         * IntelCPUSensorMain's `name == "peci_cputemp"` filter
         * matches). */
        label = "hwmon_peci_cpu0";
        sensor-type = "peci_cputemp";
        hwmon-ins = <&fake_peci_cpu0 0>;
        meas = "temp1_input:DTS",
               "temp2_input:Margin",
               "power1_input:cpu power",
               "power2_input:dimm power",
               "temp3_input:DIMM A1",
               "temp4_input:DIMM B1";
        status = "okay";
    };
};
```

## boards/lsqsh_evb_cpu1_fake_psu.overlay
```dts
/*
 * Self-test overlay: fake PSU sensor -> hwmon -> PSUSensor.
 *
 * Apply on top of the board's default overlay, e.g.:
 *   west build -b <board> app -DFAKE_PSU_TEST=y
 *
 * (The FAKE_PSU_TEST CMake flag enables CONFIG_FAKE_PSU_SENSOR and applies
 * this overlay automatically; see app/CMakeLists.txt. It composes with
 * -DFAKE_TEMP_TEST=y.)
 *
 * Entity Manager must carry a matching entry. PSUSensorMain requires the hwmon
 * `name` file ("pmbus", emitted by hwmon_i2c for class-5 psu) to be in its chip
 * whitelist, and matches {Bus, Address} against the bus_addr file hwmon_i2c
 * emits, here "1-004a" (bus 1, addr 0x4a = 74):
 *   { "Name": "fake_psu", "Type": "pmbus", "Bus": 1, "Address": 74 }
 *
 * Rail labels (vin/vout1/pin1/pout1/iout1/temp1/fan1) must be in
 * PSUSensorMain's labelMatch table; they map each <rail>_input file to its
 * dbus PSU property.
 */

&i2c1 {
	fake_psu: fake-psu@4a {
		compatible = "test,fake-psu-sensor";
		reg = <0x4a>;
		#hwmon-in-cells = <1>;
		status = "okay";
	};
};

/ {
	hwmon_fake_psu {
		compatible = "linkedsemi,hwmon";
		class = <0x5>;
		label = "hwmon_fake_psu";
		sensor-type = "psu";
		hwmon-ins = <&fake_psu 0>;
		meas = "in1_input:vin", "in2_input:vin1", "in3_input:vout1",
		       "power2_input:pin1", "power3_input:pout1",
		       "curr1_input:iout1", "temp1_input:temp1", "fan1_input:fan1";
		status = "okay";
	};
};
```

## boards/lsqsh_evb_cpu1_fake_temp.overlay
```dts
/*
 * Self-test overlay: fake temperature sensor -> hwmon -> HwmonTempSensor.
 *
 * Apply on top of the board's default overlay, e.g.:
 *   west build -b <board> app -DFAKE_TEMP_TEST=y
 *
 * (The FAKE_TEMP_TEST CMake flag enables CONFIG_FAKE_TEMP_SENSOR and applies
 * this overlay automatically; see app/CMakeLists.txt.)
 *
 * Entity Manager must carry a matching entry (Type must be in HwmonTempMain's
 * chip whitelist; Bus/Address must match the bus_addr file hwmon_i2c emits,
 * here "1-0048"):
 *   { "Name": "fake_temp", "Type": "TMP75", "Bus": 1, "Address": 72 }
 */

&i2c1 {
	fake_temp: fake-temp@48 {
		compatible = "test,fake-temp-sensor";
		reg = <0x48>;
		#hwmon-in-cells = <1>;
		status = "okay";
	};
};

/ {
	hwmon_fake_temp {
		compatible = "linkedsemi,hwmon";
		class = <0x5>;
		label = "hwmon_fake_temp";
		sensor-type = "temp";
		hwmon-ins = <&fake_temp 0>;
		meas = "temp1_input";
		status = "okay";
	};
};
```

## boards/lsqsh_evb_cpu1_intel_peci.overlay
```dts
，/*
 * Real Intel PECI CPU sensor overlay (CONFIG_SENSOR_INTEL_PECI).
 *
 * This is the "real hardware" counterpart of lsqsh_evb_cpu1_fake_peci_cputemp.overlay.
 * Same meas layout, same hwmon label, same IntelCPUSensor dbus object -- only
 * the underlying sensor driver changes from fake_peci_cputemp to intel_peci.
 *
 * Enable from prj.conf (NOT a -D...=y build flag -- those are reserved for
 * fake self-test sensors):
 *
 *   CONFIG_PECI=y
 *   CONFIG_PECI_LS=y            # linkedsemi PECI controller driver
 *   CONFIG_SENSOR_INTEL_PECI=y
 *
 * The matching DT overlay (this file) is applied automatically by
 * app/CMakeLists.txt once CONFIG_SENSOR_INTEL_PECI is set, so no extra
 * -DEXTRA_DTC_OVERLAY_FILE=... is needed.
 *
 * Hardware prerequisites (handled here):
 *   1. &peci1 enabled + pinmux (the SoC dtsi leaves it status="disabled")
 *   2. &peci1 aliased as peci-0 (IntelCPUSensorMain on Linux reads /dev/peci-0;
 *      on Zephyr we don't, but the alias is the conventional way to mark the
 *      primary PECI bus for tooling / future use)
 *   3. intel-peci-cputemp node pointing at the controller
 *   4. hwmon_intel_cpu0 node exposing the 6 rails with the same labels
 *      IntelCPUSensorMain matches in the JSON config (DTS / Margin / cpu
 *      power / dimm power / DIMM A1 / DIMM B1).
 *
 * Mutually exclusive with -DFAKE_PECI_CPUTEMP_TEST=y -- both define a hwmon
 * node with the same "peci_cputemp" label, which would clash on the dbus
 * side. The CMakeLists.txt guards against this.
 *
 * CPU PECI host address: 0x30 for CPU0 (PECI 3.0 reserves 0x30..0x37). Add a
 * second instance + hwmon_intel_cpu1 with cpu-address=<0x31> for CPU1.
 */

&peci1 {
	status = "okay";
	pinctrl-0 = <&peci_default_pc04>;
	pinctrl-names = "default";
};

/ {
	aliases {
		peci-0 = &peci1;
	};

	intel_peci_cpu0: intel-peci-cputemp {
		compatible = "intel,peci-cputemp";
		peci-controller = <&peci1>;
		cpu-address = <0x30>;
		/* Optional: hard-code Tjmax to skip one RdPkgConfig at init.
		 * Drop this line to let the driver query index=16. */
		/* tjmax = <100>; */
		#hwmon-in-cells = <1>;
		status = "okay";
	};

	hwmon_intel_cpu0: hwmon_intel_cpu0 {
		compatible = "linkedsemi,hwmon";
		class = <0x5>;
		/* label = device identifier (hwmon directory + `label` file);
		 * sensor-type -> `name` file = "peci_cputemp" so
		 * IntelCPUSensorMain's name-based filter matches. */
		label = "hwmon_peci_cpu0";
		sensor-type = "peci_cputemp";
		hwmon-ins = <&intel_peci_cpu0 0>;
		meas = "temp1_input:DTS",
		       "temp2_input:Margin",
		       "power1_input:cpu power",
		       "power2_input:dimm power",
		       "temp3_input:DIMM A1",
		       "temp4_input:DIMM B1";
		status = "okay";
	};
};
```

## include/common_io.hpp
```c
#pragma once

#include <boost/asio/io_context.hpp>

// // 声明:io 是 thread_local 全局变量，外部定义
extern thread_local boost::asio::io_context io;
```

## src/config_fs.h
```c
/*
 * Copyright (c) 2025
 *
 * SPDX-License-Identifier: Apache-2.0
 */
#pragma once

#ifdef __cplusplus
extern "C" {
#endif

/**
 * @brief File system default config initialization.
 *
 * Creates default IPMI configuration files on first boot.
 *
 * @return 0 on success, negative errno on failure.
 */
int config_fs_init(void);

#ifdef __cplusplus
}
#endif
```
